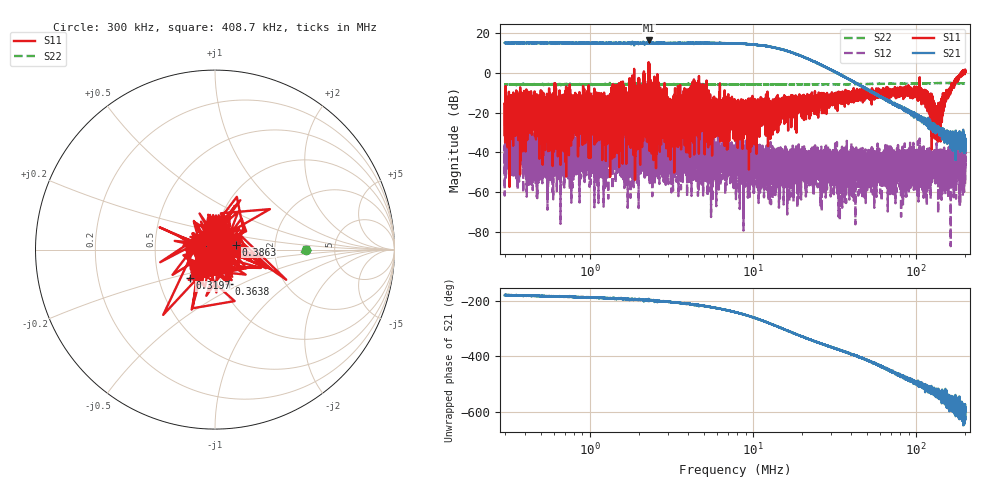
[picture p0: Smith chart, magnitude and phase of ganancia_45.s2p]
# Hz S DB R 50
! CMT, M5065, 19127446, 24.2.4/2
! Date: 11/1/2024 4:42:01 PM
! Data: Format (Calibration Info)
! Freq	S11:dB/Ang(F2)	S21:dB/Ang(F2)	S12:dB/Ang(F2)	S22:dB/Ang(F2)
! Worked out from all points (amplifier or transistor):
!   9000 points, 300 kHz to 200 MHz, reference 50 ohm
!   highest |S21| = 16.2 dB at 2.313 MHz (marker M1)
!   |S21| within 3 dB of that: start of sweep to 12.34 MHz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
!   unconditionally stable (mu >= 1): 2.315 MHz to 4.012 MHz; 4.583 MHz to 187.7 MHz; 190 MHz to 191.4 MHz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
!   at 886.8 kHz: K = 8.57, MAG = 16.2 dB, |S12| = -42.2 dB
!   at 7.749 MHz: K = 15.27, MAG = 16.2 dB, |S12| = -47.3 dB
!   at 200 MHz: K = -741.54, MSG = 3.7 dB, |S12| = -46.8 dB
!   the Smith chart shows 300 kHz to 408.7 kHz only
!   S11 on the Smith chart (normalised r, x): 300 kHz: 0.98, +0.33; 319.7 kHz: 0.72, -0.24; 363.8 kHz: 1.08, -0.43; 386.3 kHz: 1.26, +0.07; 408.7 kHz: 0.94, +0.02
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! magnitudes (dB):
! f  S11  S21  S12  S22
! 300 kHz  -15.6  15.0  -46.2  -5.9
! 319.7 kHz  -13.5  15.0  -52.1  -5.9
! 363.8 kHz  -13.6  15.0  -30.9  -6.1
! 386.3 kHz  -18.4  14.9  -42.0  -5.8
! 408.7 kHz  -29.9  15.0  -36.8  -5.9
! 886.8 kHz  -30.0  14.9  -42.2  -5.9
! 1.256 MHz  -24.9  14.9  -38.1  -5.9
! 2.313 MHz  4.6  16.2  -35.8  -5.9
! 2.621 MHz  -16.9  14.9  -43.1  -5.9
! 3.115 MHz  -19.3  14.9  -37.3  -5.8
! 4.659 MHz  -1.6  14.7  -45.6  -5.8
! 5.594 MHz  -26.6  14.9  -41.8  -5.9
! 7.749 MHz  -15.6  14.7  -47.3  -5.8
! 9.005 MHz  -23.9  14.4  -40.8  -6.0
! 9.921 MHz  -14.8  14.3  -56.1  -5.8
! 22.91 MHz  -14.9  6.1  -41.0  -5.9
! 67.71 MHz  -10.1  -14.2  -53.0  -5.6
! 107.5 MHz  -11.9  -22.9  -53.4  -5.4
! 120.3 MHz  -12.2  -26.1  -49.2  -5.3
! 133.5 MHz  -29.2  -28.3  -48.0  -5.2
! 156 MHz  -11.8  -32.5  -51.0  -5.2
! 200 MHz  0.4  -39.4  -46.8  -5.3
